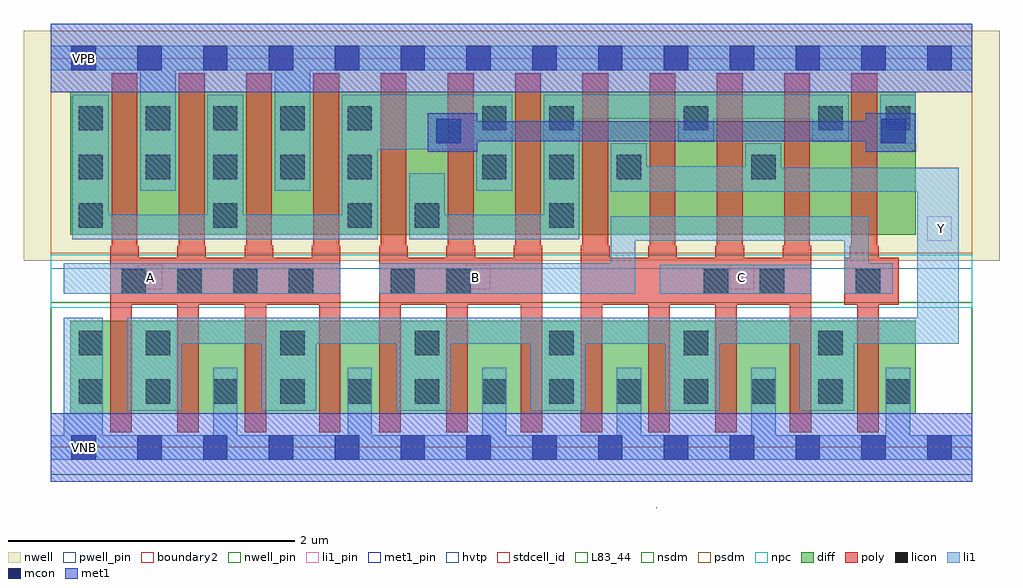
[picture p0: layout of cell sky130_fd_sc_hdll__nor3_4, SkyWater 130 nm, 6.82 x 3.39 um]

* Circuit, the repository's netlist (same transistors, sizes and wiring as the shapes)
* Copyright 2020 The SkyWater PDK Authors
*
* Licensed under the Apache License, Version 2.0 (the "License");
* you may not use this file except in compliance with the License.
* You may obtain a copy of the License at
*
*     https://www.apache.org/licenses/LICENSE-2.0
*
* Unless required by applicable law or agreed to in writing, software
* distributed under the License is distributed on an "AS IS" BASIS,
* WITHOUT WARRANTIES OR CONDITIONS OF ANY KIND, either express or implied.
* See the License for the specific language governing permissions and
* limitations under the License.
*
* SPDX-License-Identifier: Apache-2.0

.SUBCKT sky130_fd_sc_hdll__nor3_4 A B C VGND VNB VPB VPWR Y
*.PININFO A:I B:I C:I VGND:I VNB:I VPB:I VPWR:I Y:O
MMP0 VPWR A sndPA VPB sky130_fd_pr__pfet_01v8_hvt m=4 w=1.0U l=0.18U mult=1 sa=0.265
+ sb=0.265 sd=0.28 area=0.063 perim=1.14
MMP1 sndPA B sndPB VPB sky130_fd_pr__pfet_01v8_hvt m=4 w=1.0U l=0.18U mult=1 sa=0.265
+ sb=0.265 sd=0.28 area=0.063 perim=1.14
MMP2 sndPB C Y VPB sky130_fd_pr__pfet_01v8_hvt m=4 w=1.0U l=0.18U mult=1 sa=0.265
+ sb=0.265 sd=0.28 area=0.063 perim=1.14
MMN0 Y A VGND VNB sky130_fd_pr__nfet_01v8 m=4 w=0.65U l=0.15U mult=1 sa=0.265 sb=0.265
+ sd=0.28 area=0.063 perim=1.14
MMN1 Y B VGND VNB sky130_fd_pr__nfet_01v8 m=4 w=0.65U l=0.15U mult=1 sa=0.265 sb=0.265
+ sd=0.28 area=0.063 perim=1.14
MMN2 Y C VGND VNB sky130_fd_pr__nfet_01v8 m=4 w=0.65U l=0.15U mult=1 sa=0.265 sb=0.265
+ sd=0.28 area=0.063 perim=1.14
.ENDS sky130_fd_sc_hdll__nor3_4

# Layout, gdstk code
import gdstk
lib = gdstk.Library(unit=1e-6, precision=1e-09)
def R(c, l, rs):  # rectangles x0, y0, x1, y1
    for r in rs: c.add(gdstk.rectangle(r[:2], r[2:], *l))
def A(c, l, x, y, w, h, nx, ny, dx, dy):  # array of equal rectangles
    R(c, l, [(x+i*dx, y+j*dy, x+i*dx+w, y+j*dy+h) for i in range(nx) for j in range(ny)])
def P(c, l, *ps):  # polygons
    for p in ps: c.add(gdstk.Polygon(p, *l))
nwell_pin = (64, 16)
nwell = (64, 20)
diff = (65, 20)
poly = (66, 20)
licon = (66, 44)
li1_pin = (67, 16)
li1 = (67, 20)
mcon = (67, 44)
met1_pin = (68, 16)
met1 = (68, 20)
hvtp = (78, 44)
stdcell_id = (81, 4)
L83_44 = (83, 44)
nsdm = (93, 44)
psdm = (94, 20)
npc = (95, 20)
pwell_pin = (122, 16)
boundary2 = (236, 0)

sky130_fd_sc_hdll__nor3_ = lib.new_cell('sky130_fd_sc_hdll__nor3_4')
R(sky130_fd_sc_hdll__nor3_, nwell_pin, [(0.15,2.635,0.32,2.805)])
R(sky130_fd_sc_hdll__nor3_, nwell, [(-0.19,1.305,6.63,2.91)])
R(sky130_fd_sc_hdll__nor3_, diff, [(0.135,0.235,6.045,0.885), (0.135,1.485,6.045,2.485)])
P(sky130_fd_sc_hdll__nor3_, poly, [(2.025,1.41),(2.015,1.41),(2.015,2.615),(1.835,2.615),(1.835,1.41),(1.825,1.41),(1.825,1.325),(1.555,1.325),(1.555,1.41),(1.545,1.41),(1.545,2.615),(1.365,2.615),(1.365,1.41),(1.355,1.41),(1.355,1.325),(1.085,1.325),(1.085,1.41),(1.075,1.41),(1.075,2.615),(0.895,2.615),(0.895,1.41),(0.885,1.41),(0.885,1.325),(0.615,1.325),(0.615,1.41),(0.605,1.41),(0.605,2.615),(0.425,2.615),(0.425,1.41),(0.415,1.41),(0.415,0.105),(0.565,0.105),(0.565,0.995),(0.885,0.995),(0.885,0.105),(1.035,0.105),(1.035,0.995),(1.355,0.995),(1.355,0.105),(1.505,0.105),(1.505,0.995),(1.875,0.995),(1.875,0.105),(2.025,0.105)],
  [(3.435,1.41),(3.425,1.41),(3.425,2.615),(3.245,2.615),(3.245,1.41),(3.235,1.41),(3.235,1.325),(2.965,1.325),(2.965,1.41),(2.955,1.41),(2.955,2.615),(2.775,2.615),(2.775,1.41),(2.765,1.41),(2.765,1.325),(2.495,1.325),(2.495,1.41),(2.485,1.41),(2.485,2.615),(2.305,2.615),(2.305,1.41),(2.295,1.41),(2.295,0.105),(2.445,0.105),(2.445,0.995),(2.765,0.995),(2.765,0.105),(2.915,0.105),(2.915,0.995),(3.285,0.995),(3.285,0.105),(3.435,0.105)],
  [(5.315,1.41),(5.305,1.41),(5.305,2.615),(5.125,2.615),(5.125,1.41),(5.115,1.41),(5.115,1.325),(4.845,1.325),(4.845,1.41),(4.835,1.41),(4.835,2.615),(4.655,2.615),(4.655,1.41),(4.645,1.41),(4.645,1.325),(4.375,1.325),(4.375,1.41),(4.365,1.41),(4.365,2.615),(4.185,2.615),(4.185,1.41),(4.175,1.41),(4.175,1.325),(3.905,1.325),(3.905,1.41),(3.895,1.41),(3.895,2.615),(3.715,2.615),(3.715,1.41),(3.705,1.41),(3.705,0.105),(3.855,0.105),(3.855,0.995),(4.175,0.995),(4.175,0.105),(4.325,0.105),(4.325,0.995),(4.645,0.995),(4.645,0.105),(4.795,0.105),(4.795,0.995),(5.165,0.995),(5.165,0.105),(5.315,0.105)],
  [(5.925,1.325),(5.785,1.325),(5.785,1.41),(5.775,1.41),(5.775,2.615),(5.595,2.615),(5.595,1.41),(5.585,1.41),(5.585,1.325),(5.545,1.325),(5.545,0.995),(5.635,0.995),(5.635,0.105),(5.785,0.105),(5.785,0.995),(5.925,0.995)])
A(sky130_fd_sc_hdll__nor3_, licon, 0.195, 0.305, 0.17, 0.17, 13, 1, 0.47, 0)
A(sky130_fd_sc_hdll__nor3_, licon, 0.665, 0.645, 0.17, 0.17, 6, 1, 0.94, 0)
A(sky130_fd_sc_hdll__nor3_, licon, 0.495, 1.075, 0.17, 0.17, 4, 1, 0.39, 0)
A(sky130_fd_sc_hdll__nor3_, licon, 0.195, 1.535, 0.17, 0.17, 3, 1, 0.94, 0)
A(sky130_fd_sc_hdll__nor3_, licon, 0.195, 1.875, 0.17, 0.17, 5, 2, 0.47, 0.34)
A(sky130_fd_sc_hdll__nor3_, licon, 3.015, 1.875, 0.17, 0.17, 3, 1, 0.47, 0)
A(sky130_fd_sc_hdll__nor3_, licon, 3.485, 2.215, 0.17, 0.17, 3, 1, 0.94, 0)
R(sky130_fd_sc_hdll__nor3_, licon, [(0.195,0.645,0.365,0.815), (2.375,1.075,2.545,1.245), (2.765,1.075,2.935,1.245), (4.565,1.075,4.735,1.245), (4.955,1.075,5.125,1.245), (5.625,1.075,5.795,1.245), (2.545,1.535,2.715,1.705), (3.485,1.535,3.655,1.705), (4.895,1.875,5.065,2.045), (3.015,2.215,3.185,2.385), (5.835,2.215,6.005,2.385)])
R(sky130_fd_sc_hdll__nor3_, li1_pin, [(0.61,1.105,0.78,1.275), (2.9,1.105,3.07,1.275), (4.745,1.105,4.915,1.275), (6.125,1.445,6.295,1.615)])
R(sky130_fd_sc_hdll__nor3_, li1, [(0.09,1.075,2.025,1.285), (4.255,1.075,5.315,1.275), (5.795,2.125,6.045,2.465)])
P(sky130_fd_sc_hdll__nor3_, li1, [(6.44,0.085),(6.005,0.085),(6.005,0.555),(5.835,0.555),(5.835,0.085),(5.065,0.085),(5.065,0.555),(4.895,0.555),(4.895,0.085),(4.125,0.085),(4.125,0.555),(3.955,0.555),(3.955,0.085),(3.185,0.085),(3.185,0.555),(3.015,0.555),(3.015,0.085),(2.245,0.085),(2.245,0.555),(2.075,0.555),(2.075,0.085),(1.305,0.085),(1.305,0.555),(1.135,0.555),(1.135,0.085),(0.365,0.085),(0.365,0.905),(0.09,0.905),(0.09,0.085),(0,0.085),(0,-0.085),(6.44,-0.085)],
  [(6.44,2.805),(0,2.805),(0,2.635),(0.625,2.635),(0.625,1.795),(0.875,1.795),(0.875,2.635),(1.565,2.635),(1.565,1.795),(1.815,1.795),(1.815,2.635),(6.44,2.635)],
  [(6.345,1.955),(5.105,1.955),(5.105,2.125),(4.855,2.125),(4.855,1.965),(4.165,1.965),(4.165,2.125),(3.915,2.125),(3.915,1.785),(6.055,1.785),(6.055,0.905),(0.535,0.905),(0.535,0.255),(0.915,0.255),(0.915,0.725),(1.475,0.725),(1.475,0.255),(1.855,0.255),(1.855,0.725),(2.415,0.725),(2.415,0.255),(2.795,0.255),(2.795,0.725),(3.355,0.725),(3.355,0.255),(3.735,0.255),(3.735,0.725),(4.295,0.725),(4.295,0.255),(4.675,0.255),(4.675,0.725),(5.235,0.725),(5.235,0.255),(5.615,0.255),(5.615,0.725),(6.345,0.725)],
  [(5.885,1.285),(5.715,1.285),(5.715,1.615),(3.915,1.615),(3.915,1.285),(2.295,1.285),(2.295,1.075),(4.085,1.075),(4.085,1.445),(5.545,1.445),(5.545,1.075),(5.885,1.075)],
  [(5.575,2.465),(3.445,2.465),(3.445,1.625),(2.755,1.625),(2.755,1.915),(2.505,1.915),(2.505,1.455),(3.695,1.455),(3.695,2.295),(4.385,2.295),(4.385,2.135),(4.635,2.135),(4.635,2.295),(5.325,2.295),(5.325,2.135),(5.575,2.135)],
  [(3.225,2.465),(2.035,2.465),(2.035,1.625),(1.345,1.625),(1.345,2.465),(1.095,2.465),(1.095,1.625),(0.405,1.625),(0.405,2.465),(0.15,2.465),(0.15,1.455),(2.285,1.455),(2.285,2.085),(2.975,2.085),(2.975,1.795),(3.225,1.795)])
A(sky130_fd_sc_hdll__nor3_, mcon, 0.145, -0.085, 0.17, 0.17, 14, 2, 0.46, 2.72)
R(sky130_fd_sc_hdll__nor3_, mcon, [(2.695,2.125,2.865,2.295), (5.805,2.125,5.975,2.295)])
R(sky130_fd_sc_hdll__nor3_, met1_pin, [(0.15,-0.085,0.32,0.085), (0.15,2.635,0.32,2.805)])
R(sky130_fd_sc_hdll__nor3_, met1, [(0,-0.24,6.44,0.24), (0,2.48,6.44,2.96)])
P(sky130_fd_sc_hdll__nor3_, met1, [(6.04,2.335),(5.695,2.335),(5.695,2.28),(2.98,2.28),(2.98,2.335),(2.635,2.335),(2.635,2.065),(2.98,2.065),(2.98,2.14),(5.695,2.14),(5.695,2.065),(6.04,2.065)])
R(sky130_fd_sc_hdll__nor3_, hvtp, [(0,1.25,6.44,2.72)])
R(sky130_fd_sc_hdll__nor3_, stdcell_id, [(0,0,6.44,2.72)])
R(sky130_fd_sc_hdll__nor3_, L83_44, [(4.23,-0.425,4.235,-0.42)])
R(sky130_fd_sc_hdll__nor3_, nsdm, [(0,-0.19,6.44,1.015)])
R(sky130_fd_sc_hdll__nor3_, psdm, [(0,1.355,6.44,2.91)])
R(sky130_fd_sc_hdll__nor3_, npc, [(0,0.975,6.44,1.345)])
R(sky130_fd_sc_hdll__nor3_, pwell_pin, [(0.15,-0.085,0.32,0.085)])
R(sky130_fd_sc_hdll__nor3_, boundary2, [(0,0,6.44,2.72)])
sky130_fd_sc_hdll__nor3_.add(gdstk.Label('A', (0.695,1.19), layer=67, texttype=5))
sky130_fd_sc_hdll__nor3_.add(gdstk.Label('C', (4.83,1.19), layer=67, texttype=5))
sky130_fd_sc_hdll__nor3_.add(gdstk.Label('B', (2.965,1.19), layer=67, texttype=5))
sky130_fd_sc_hdll__nor3_.add(gdstk.Label('Y', (6.225,1.53), layer=67, texttype=5))
sky130_fd_sc_hdll__nor3_.add(gdstk.Label('VPB', (0.235,2.72), layer=64, texttype=5))
sky130_fd_sc_hdll__nor3_.add(gdstk.Label('VNB', (0.235,0), layer=64, texttype=59))
sky130_fd_sc_hdll__nor3_.add(gdstk.Label('VGND', (0.23,0), layer=68, texttype=5))
sky130_fd_sc_hdll__nor3_.add(gdstk.Label('VPWR', (0.23,2.72), layer=68, texttype=5))
sky130_fd_sc_hdll__nor3_.add(gdstk.Label('nor3_4', (0,0), layer=83, texttype=44))

lib.write_gds('sky130_fd_sc_hdll__nor3_4.gds')
